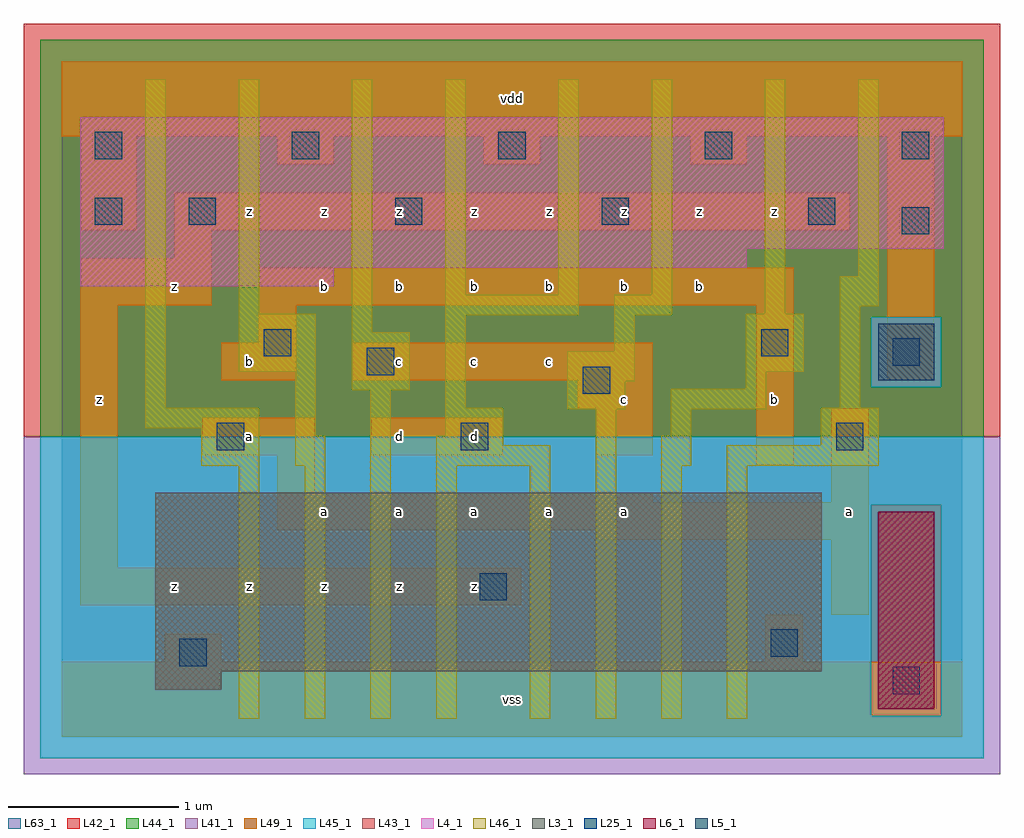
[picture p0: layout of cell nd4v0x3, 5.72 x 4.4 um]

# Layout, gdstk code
import gdstk
lib = gdstk.Library(unit=1e-6, precision=1e-09)
def R(c, l, rs):  # rectangles x0, y0, x1, y1
    for r in rs: c.add(gdstk.rectangle(r[:2], r[2:], *l))
def A(c, l, x, y, w, h, nx, ny, dx, dy):  # array of equal rectangles
    R(c, l, [(x+i*dx, y+j*dy, x+i*dx+w, y+j*dy+h) for i in range(nx) for j in range(ny)])
L3_1 = (3, 1)
L4_1 = (4, 1)
L5_1 = (5, 1)
L6_1 = (6, 1)
L25_1 = (25, 1)
L41_1 = (41, 1)
L42_1 = (42, 1)
L43_1 = (43, 1)
L44_1 = (44, 1)
L45_1 = (45, 1)
L46_1 = (46, 1)
L49_1 = (49, 1)
L63_1 = (63, 1)

nd4v0x3 = lib.new_cell('nd4v0x3')
R(nd4v0x3, L3_1, [(0.55,0.275,0.935,0.385), (0.55,0.385,4.455,1.43)])
R(nd4v0x3, L4_1, [(0.11,2.64,1.595,2.75), (0.11,2.75,4.015,2.86), (0.11,2.86,5.17,3.63)])
R(nd4v0x3, L5_1, [(4.785,2.09,5.115,2.42)])
R(nd4v0x3, L6_1, [(4.785,0.165,5.115,1.32)])
A(nd4v0x3, L25_1, 0.745, 3, 0.16, 0.16, 4, 1, 1.21, 0)
A(nd4v0x3, L25_1, 1.35, 3.385, 0.16, 0.16, 3, 1, 1.21, 0)
R(nd4v0x3, L25_1, [(4.87,0.25,5.03,0.41), (0.69,0.415,0.85,0.575), (4.155,0.47,4.315,0.63), (2.45,0.8,2.61,0.96), (0.91,1.68,1.07,1.84), (2.34,1.68,2.5,1.84), (4.54,1.68,4.7,1.84), (3.055,2.01,3.215,2.17), (1.79,2.12,1.95,2.28), (4.87,2.175,5.03,2.335), (1.185,2.23,1.345,2.39), (4.1,2.23,4.26,2.39), (4.925,2.945,5.085,3.105), (0.195,3,0.355,3.16), (0.195,3.385,0.355,3.545), (4.925,3.385,5.085,3.545)])
R(nd4v0x3, L41_1, [(-0.22,-0.22,5.5,1.76)])
R(nd4v0x3, L42_1, [(-0.22,1.76,5.5,4.18)])
R(nd4v0x3, L43_1, [(4.785,0.165,5.115,1.32), (0.55,0.275,0.935,0.385), (0.55,0.385,4.455,1.43), (4.785,2.09,5.115,2.42), (0.11,2.64,1.595,2.75), (0.11,2.75,4.015,2.86), (0.11,2.86,5.17,3.63)])
R(nd4v0x3, L44_1, [(4.745,0.125,5.155,1.36), (-0.125,1.76,5.405,2.05), (-0.125,2.05,4.745,2.46), (5.155,2.05,5.405,2.46), (-0.125,2.46,5.405,4.085)])
R(nd4v0x3, L45_1, [(-0.125,-0.125,5.405,0.125), (-0.125,0.125,4.745,1.36), (5.155,0.125,5.405,1.36), (-0.125,1.36,5.405,1.76), (4.745,2.05,5.155,2.46)])
R(nd4v0x3, L46_1, [(1.04,0.105,1.16,1.59), (1.425,0.105,1.545,1.59), (1.81,0.105,1.93,2.03), (2.195,0.105,2.315,1.59), (2.745,0.105,2.865,1.59), (3.13,0.105,3.25,1.92), (3.515,0.105,3.635,1.59), (3.9,0.105,4.02,1.59), (0.82,1.59,1.16,1.81), (1.37,1.59,1.545,1.765), (2.195,1.59,2.865,1.71), (3.515,1.59,3.69,1.765), (3.9,1.59,4.79,1.71), (2.195,1.71,2.59,1.765), (4.45,1.71,4.79,1.93), (1.37,1.765,1.49,2.14), (2.25,1.765,2.59,1.93), (3.57,1.765,3.69,1.92), (0.49,1.81,1.16,1.93), (2.965,1.92,3.305,2.085), (3.57,1.92,4.13,2.04), (0.49,1.93,0.61,3.855), (2.25,1.93,2.37,2.47), (4.56,1.93,4.68,2.525), (1.7,2.03,2.04,2.37), (4.01,2.04,4.13,2.14), (2.965,2.085,3.36,2.26), (1.04,2.14,1.49,2.48), (4.01,2.14,4.35,2.48), (3.24,2.26,3.36,2.47), (1.7,2.37,1.82,3.855), (2.25,2.47,3.03,2.59), (3.24,2.47,3.58,2.59), (1.04,2.48,1.16,3.855), (4.12,2.48,4.24,3.855), (4.56,2.525,4.79,2.7), (2.25,2.59,2.37,3.855), (2.91,2.59,3.03,3.855), (3.46,2.59,3.58,3.855), (4.67,2.7,4.79,3.855)])
A(nd4v0x3, L49_1, 1.265, 3.355, 0.33, 0.165, 3, 1, 1.21, 0)
R(nd4v0x3, L49_1, [(0,0,5.28,0.44), (0.605,0.44,0.935,0.605), (4.125,0.44,4.345,0.715), (4.51,0.715,4.73,1.155), (0.11,0.77,2.695,0.99), (0.11,0.99,0.33,2.53), (3.135,1.155,4.73,1.21), (1.265,1.21,4.73,1.375), (1.265,1.375,3.465,1.43), (4.51,1.375,4.73,1.925), (1.265,1.43,1.485,1.65), (4.07,1.595,4.29,2.53), (0.825,1.65,1.485,1.87), (1.815,1.65,2.585,1.87), (3.135,1.65,3.465,1.925), (3.025,1.925,3.465,2.09), (0.935,2.09,1.375,2.31), (1.705,2.09,3.465,2.31), (4.84,2.09,5.115,3.52), (1.155,2.31,1.375,2.53), (0.11,2.53,0.88,2.805), (1.155,2.53,4.29,2.75), (0.66,2.805,0.88,2.97), (0.11,2.97,0.44,3.52), (0.66,2.97,4.62,3.19), (0,3.52,5.28,3.96)])
R(nd4v0x3, L63_1, [(0,0,5.28,3.96)])
nd4v0x3.add(gdstk.Label('z', (0.66,0.88), layer=49, texttype=1))
nd4v0x3.add(gdstk.Label('z', (0.22,1.98), layer=49, texttype=1))
nd4v0x3.add(gdstk.Label('z', (0.66,2.64), layer=49, texttype=1))
nd4v0x3.add(gdstk.Label('z', (1.54,0.88), layer=49, texttype=1))
nd4v0x3.add(gdstk.Label('z', (1.1,0.88), layer=49, texttype=1))
nd4v0x3.add(gdstk.Label('a', (1.54,1.32), layer=49, texttype=1))
nd4v0x3.add(gdstk.Label('a', (1.1,1.76), layer=49, texttype=1))
nd4v0x3.add(gdstk.Label('b', (1.1,2.2), layer=49, texttype=1))
nd4v0x3.add(gdstk.Label('b', (1.54,2.64), layer=49, texttype=1))
nd4v0x3.add(gdstk.Label('z', (1.54,3.08), layer=49, texttype=1))
nd4v0x3.add(gdstk.Label('z', (1.1,3.08), layer=49, texttype=1))
nd4v0x3.add(gdstk.Label('vss', (2.64,0.22), layer=49, texttype=1))
nd4v0x3.add(gdstk.Label('z', (2.42,0.88), layer=49, texttype=1))
nd4v0x3.add(gdstk.Label('z', (1.98,0.88), layer=49, texttype=1))
nd4v0x3.add(gdstk.Label('a', (1.98,1.32), layer=49, texttype=1))
nd4v0x3.add(gdstk.Label('a', (2.42,1.32), layer=49, texttype=1))
nd4v0x3.add(gdstk.Label('a', (2.86,1.32), layer=49, texttype=1))
nd4v0x3.add(gdstk.Label('d', (2.42,1.76), layer=49, texttype=1))
nd4v0x3.add(gdstk.Label('d', (1.98,1.76), layer=49, texttype=1))
nd4v0x3.add(gdstk.Label('c', (1.98,2.2), layer=49, texttype=1))
nd4v0x3.add(gdstk.Label('c', (2.42,2.2), layer=49, texttype=1))
nd4v0x3.add(gdstk.Label('c', (2.86,2.2), layer=49, texttype=1))
nd4v0x3.add(gdstk.Label('b', (1.98,2.64), layer=49, texttype=1))
nd4v0x3.add(gdstk.Label('b', (2.42,2.64), layer=49, texttype=1))
nd4v0x3.add(gdstk.Label('b', (2.86,2.64), layer=49, texttype=1))
nd4v0x3.add(gdstk.Label('z', (2.42,3.08), layer=49, texttype=1))
nd4v0x3.add(gdstk.Label('z', (2.86,3.08), layer=49, texttype=1))
nd4v0x3.add(gdstk.Label('z', (1.98,3.08), layer=49, texttype=1))
nd4v0x3.add(gdstk.Label('vdd', (2.64,3.74), layer=49, texttype=1))
nd4v0x3.add(gdstk.Label('a', (3.3,1.32), layer=49, texttype=1))
nd4v0x3.add(gdstk.Label('c', (3.3,1.98), layer=49, texttype=1))
nd4v0x3.add(gdstk.Label('b', (4.18,1.98), layer=49, texttype=1))
nd4v0x3.add(gdstk.Label('b', (3.3,2.64), layer=49, texttype=1))
nd4v0x3.add(gdstk.Label('b', (3.74,2.64), layer=49, texttype=1))
nd4v0x3.add(gdstk.Label('z', (3.74,3.08), layer=49, texttype=1))
nd4v0x3.add(gdstk.Label('z', (4.18,3.08), layer=49, texttype=1))
nd4v0x3.add(gdstk.Label('z', (3.3,3.08), layer=49, texttype=1))
nd4v0x3.add(gdstk.Label('a', (4.62,1.32), layer=49, texttype=1))

lib.write_gds('nd4v0x3.gds')
